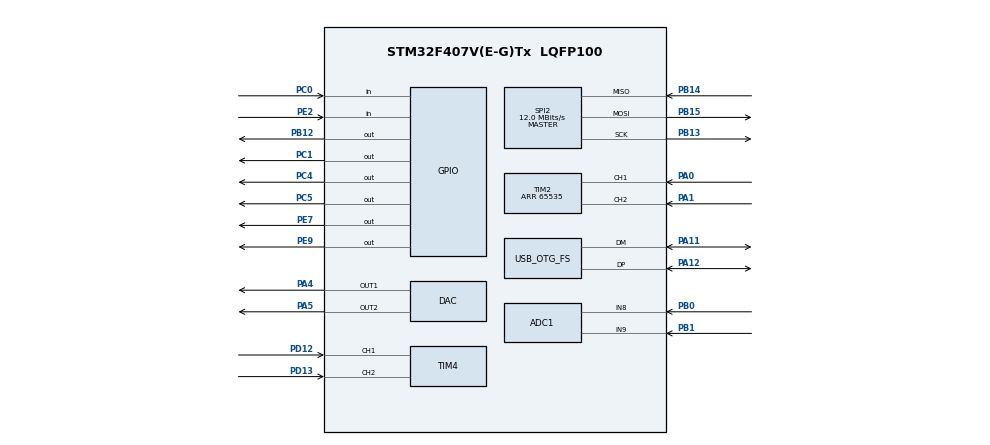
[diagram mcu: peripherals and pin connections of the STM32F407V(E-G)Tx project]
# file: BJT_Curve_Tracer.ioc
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ADC1.Channel-7\#ChannelRegularConversion=ADC_CHANNEL_8
ADC1.NbrOfConversionFlag=1
ADC1.Rank-7\#ChannelRegularConversion=1
ADC1.SamplingTime-7\#ChannelRegularConversion=ADC_SAMPLETIME_3CYCLES
ADC1.master=1
DAC.DAC_OutputBuffer=DAC_OUTPUTBUFFER_ENABLE
DAC.DAC_OutputBuffer2=DAC_OUTPUTBUFFER_ENABLE
Mcu.Family=STM32F4
Mcu.Name=STM32F407V(E-G)Tx
Mcu.Package=LQFP100
NVIC.OTG_FS_IRQn=true\:0\:0\:false\:false\:true\:false\:true\:true
NVIC.PriorityGroup=NVIC_PRIORITYGROUP_4
PA0-WKUP.GPIO_PuPd=GPIO_PULLUP
PA0-WKUP.Signal=S_TIM2_CH1_ETR
PA1.GPIO_PuPd=GPIO_PULLUP
PA1.Signal=S_TIM2_CH2
PA11.Mode=Device_Only
PA11.Signal=USB_OTG_FS_DM
PA12.Mode=Device_Only
PA12.Signal=USB_OTG_FS_DP
PA13.Mode=Serial_Wire
PA13.Signal=SYS_JTMS-SWDIO
PA14.Mode=Serial_Wire
PA14.Signal=SYS_JTCK-SWCLK
PA4.Signal=COMP_DAC1_group
PA5.Signal=COMP_DAC2_group
PB0.Signal=ADCx_IN8
PB1.Signal=ADCx_IN9
PB12.GPIO_PuPd=GPIO_NOPULL
PB12.GPIO_Speed=GPIO_SPEED_FREQ_VERY_HIGH
PB12.Signal=GPIO_Output
PB13.Mode=Full_Duplex_Master
PB13.Signal=SPI2_SCK
PB14.Mode=Full_Duplex_Master
PB14.Signal=SPI2_MISO
PB15.Mode=Full_Duplex_Master
PB15.Signal=SPI2_MOSI
PC0.GPIO_PuPd=GPIO_PULLUP
PC0.Signal=GPIO_Input
PC1.GPIO_Speed=GPIO_SPEED_FREQ_VERY_HIGH
PC1.Signal=GPIO_Output
PC4.GPIO_Speed=GPIO_SPEED_FREQ_VERY_HIGH
PC4.Signal=GPIO_Output
PC5.GPIO_Speed=GPIO_SPEED_FREQ_VERY_HIGH
PC5.Signal=GPIO_Output
PD12.GPIO_PuPd=GPIO_PULLUP
PD12.Signal=S_TIM4_CH1
PD13.GPIO_PuPd=GPIO_PULLUP
PD13.Signal=S_TIM4_CH2
PE2.GPIO_Mode=GPIO_MODE_INPUT
PE2.GPIO_PuPd=GPIO_PULLUP
PE2.Signal=GPIO_Input
PE7.GPIO_PuPd=GPIO_PULLDOWN
PE7.GPIO_Speed=GPIO_SPEED_FREQ_VERY_HIGH
PE7.Signal=GPIO_Output
PE9.GPIO_PuPd=GPIO_PULLDOWN
PE9.GPIO_Speed=GPIO_SPEED_FREQ_VERY_HIGH
PE9.PinState=GPIO_PIN_RESET
PE9.Signal=GPIO_Output
PH0-OSC_IN.Mode=HSE-External-Oscillator
PH0-OSC_IN.Signal=RCC_OSC_IN
PH1-OSC_OUT.Mode=HSE-External-Oscillator
PH1-OSC_OUT.Signal=RCC_OSC_OUT
ProjectManager.HeapSize=0x1000
ProjectManager.StackSize=0x1000
ProjectManager.TargetToolchain=STM32CubeIDE
RCC.48MHZClocksFreq_Value=48000000
RCC.AHBFreq_Value=96000000
RCC.APB1CLKDivider=RCC_HCLK_DIV4
RCC.APB1Freq_Value=24000000
RCC.APB1TimFreq_Value=48000000
RCC.APB2CLKDivider=RCC_HCLK_DIV2
RCC.APB2Freq_Value=48000000
RCC.APB2TimFreq_Value=96000000
RCC.CortexFreq_Value=96000000
RCC.HCLKFreq_Value=96000000
RCC.HSE_VALUE=8000000
RCC.HSI_VALUE=16000000
RCC.LSE_VALUE=32768
RCC.PLLM=8
RCC.SYSCLKFreq_VALUE=96000000
RCC.SYSCLKSource=RCC_SYSCLKSOURCE_PLLCLK
RCC.VCOOutputFreq_Value=192000000
SH.ADCx_IN8.0=ADC1_IN8,IN8
SH.ADCx_IN9.0=ADC1_IN9,IN9
SH.COMP_DAC1_group.0=DAC_OUT1,DAC_OUT1
SH.COMP_DAC2_group.0=DAC_OUT2,DAC_OUT2
SH.S_TIM2_CH1_ETR.0=TIM2_CH1,Encoder_Interface
SH.S_TIM2_CH2.0=TIM2_CH2,Encoder_Interface
SH.S_TIM4_CH1.0=TIM4_CH1,Encoder_Interface
SH.S_TIM4_CH2.0=TIM4_CH2,Encoder_Interface
SPI2.BaudRatePrescaler=SPI_BAUDRATEPRESCALER_2
SPI2.CalculateBaudRate=12.0 MBits/s
SPI2.Direction=SPI_DIRECTION_2LINES
SPI2.Mode=SPI_MODE_MASTER
SPI2.VirtualType=VM_MASTER
TIM2.EncoderMode=TIM_ENCODERMODE_TI12
TIM2.IC1Filter=10
TIM2.IC2Filter=10
TIM2.Period=65535
TIM4.EncoderMode=TIM_ENCODERMODE_TI12
TIM4.IC1Filter=10
TIM4.IC2Filter=10
TIM6.AutoReloadPreload=TIM_AUTORELOAD_PRELOAD_ENABLE
TIM6.Prescaler=47
USB_DEVICE.CLASS_NAME_FS=CDC
USB_DEVICE.VirtualMode-CDC_FS=Cdc
USB_DEVICE.VirtualModeFS=Cdc_FS
USB_OTG_FS.VirtualMode=Device_Only
VP_TIM6_VS_ClockSourceINT.Mode=Enable_Timer
VP_USB_DEVICE_VS_USB_DEVICE_CDC_FS.Mode=CDC_FS
board=custom

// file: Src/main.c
/* USER CODE BEGIN Header */
/**
 ******************************************************************************
 * @file : main.c
 * @brief : Main program body
 ******************************************************************************
 */
/* USER CODE END Header */

#include <math.h>
#include <stdio.h>
#include <stdlib.h>

#include "adc.h"
#include "dac.h"
#include "gpio.h"
#include "ili9341.h"
#include "main.h"
#include "spi.h"
#include "tim.h"

#include "usb_device.h"
#include "usbd_cdc_if.h"
#include <string.h>

/* USER CODE BEGIN PV */
#define DAC_OFFSET 2048
#define SHUNT_RESISTOR 10.0f
#define PUMP_RESISTOR 3300.0f
#define ORIGIN_X 0
#define ORIGIN_Y 239
#define GRAPH_W 320
#define GRAPH_H 240

#define MAX_BATCH_SIZE 50
#define BATCH_DEFAULT_SIZE 30

typedef enum
{
  STATE_MENU,
  STATE_SCANNING,
  STATE_SHOW_GRAPH,
  STATE_PROMPT_SAVE,
  STATE_WAIT_BJT2,
  STATE_SHOW_COMPARE,
  STATE_BATCH_CONFIG,
  STATE_BATCH_RUNNING,
  STATE_BATCH_PROMPT_EXIT,
  STATE_BATCH_SUMMARY
} SystemState;

SystemState current_state = STATE_MENU;

// Biến Menu
uint8_t cfg_is_power = 0;
uint8_t cfg_is_pnp = 0;
float cfg_max_ib_uA = 100.0f;
uint8_t cfg_num_steps = 5;
float cfg_max_power = 0.1f;
int menu_index = 0;

uint16_t last_encoder_val = 0;
uint16_t last_encoder2_val = 0;

// Biến Test Lô (Batch)
float batch_hfe[MAX_BATCH_SIZE];
uint8_t cfg_batch_size = BATCH_DEFAULT_SIZE;
uint8_t current_batch_index = 0;
uint8_t exit_prompt_sel = 0;

// Biến Thống kê toàn cục để dùng cho các Tab
float batch_mean = 0, batch_std_dev = 0, batch_cv = 0;
uint8_t batch_outliers = 0;
uint8_t summary_page = 0;
int table_scroll = 0;

// Biến so sánh 2 BJT
float vce_data_1[10][100], ic_data_1[10][100];
float vce_data_2[10][100], ic_data_2[10][100];
float hfe_1 = 0, hfe_2 = 0;
float max_ic_1 = 0, max_ic_2 = 0;
uint8_t prompt_selection = 0;

/* USER CODE END PV */

void
SystemClock_Config(void);

/* USER CODE BEGIN 0 */

// ==========================================================
// 1. CÁC HÀM TIỆN ÍCH CƠ BẢN
// ==========================================================
void
Delay_us(uint16_t us)
{
  __HAL_TIM_SET_COUNTER(&htim6, 0);
  while ((__HAL_TIM_GET_COUNTER(&htim6)) < us)
    ;
}

uint16_t
Read_ADC_Channel_Averaged(uint32_t Channel, uint16_t num_samples)
{
  ADC_ChannelConfTypeDef sConfig = { 0 };
  sConfig.Channel = Channel;
  sConfig.Rank = 1;
  sConfig.SamplingTime = ADC_SAMPLETIME_84CYCLES;
  HAL_ADC_ConfigChannel(&hadc1, &sConfig);

  uint32_t sum = 0;
  for (uint16_t i = 0; i < num_samples; i++) {
    HAL_ADC_Start(&hadc1);
    HAL_ADC_PollForConversion(&hadc1, 10);
    sum += HAL_ADC_GetValue(&hadc1);
  }
  HAL_ADC_Stop(&hadc1);
  return (uint16_t)(sum / num_samples);
}

void
DrawLine(uint16_t x0, uint16_t y0, uint16_t x1, uint16_t y1, uint16_t color)
{
  int dx = abs(x1 - x0), dy = abs(y1 - y0);
  int sx = (x0 < x1) ? 1 : -1, sy = (y0 < y1) ? 1 : -1;
  int err = dx - dy;
  while (1) {
    ILI9341_DrawPixel(x0, y0, color);
    if (x0 == x1 && y0 == y1)
      break;
    int e2 = 2 * err;
    if (e2 > -dy) {
      err -= dy;
      x0 += sx;
    }
    if (e2 < dx) {
      err += dx;
      y0 += sy;
    }
  }
}

void
DrawRectFrame(uint16_t x, uint16_t y, uint16_t w, uint16_t h, uint16_t color)
{
  DrawLine(x, y, x + w, y, color);
  DrawLine(x, y + h, x + w, y + h, color);
  DrawLine(x, y, x, y + h, color);
  DrawLine(x + w, y, x + w, y + h, color);
}

void
USB_Send_String(char* str)
{
  uint32_t start_time = HAL_GetTick();
  while (CDC_Transmit_FS((uint8_t*)str, strlen(str)) == USBD_BUSY) {
    if (HAL_GetTick() - start_time > 5)
      break;
  }
}

// ==========================================================
// 2. GIAO DIỆN MENU VÀ ĐIỀU HƯỚNG
// ==========================================================
void
Draw_Menu_Line(int index, uint8_t is_selected)
{
  char text[32];
  if (index == 0)
    sprintf(text, "1. Size : %s", cfg_is_power ? "POWER BJT" : "SMALL SIGNAL");
  else if (index == 1)
    sprintf(text, "2. Type : %s", cfg_is_pnp ? "PNP" : "NPN");
  else if (index == 2) {
    if (cfg_is_power)
      sprintf(text, "3. Max Ib : %.0f mA", cfg_max_ib_uA / 1000.0f);
    else
      sprintf(text, "3. Max Ib : %.0f uA", cfg_max_ib_uA);
  } else if (index == 3)
    sprintf(text, "4. Steps : %d curves", cfg_num_steps);
  else if (index == 4)
    sprintf(text, "5. P-Limit: %.2f W", cfg_max_power);
  else if (index == 5)
    sprintf(text, "  -> SINGLE SCAN <-");
  else if (index == 6)
    sprintf(text, "  -> BATCH TEST 3-SIGMA <-");

  uint16_t txt_color = ILI9341_WHITE;
  uint16_t bg_color = is_selected ? ILI9341_RED : ILI9341_BLACK;

  ILI9341_FillRectangle(5, 50 + (index * 24), 305, 22, bg_color);
  ILI9341_WriteString(10, 52 + (index * 24), text, Font_11x18, txt_color, bg_color);
}

void
Draw_Menu_UI(void)
{
  ILI9341_FillScreen(ILI9341_BLACK);
  ILI9341_WriteString(50, 10, "--- CURVE TRACER ---", Font_11x18, ILI9341_CYAN, ILI9341_BLACK);
  for (int i = 0; i < 7; i++)
    Draw_Menu_Line(i, (i == menu_index));
}

void
Draw_Prompt_Save_BG(void)
{
  // Đổi nền hộp thoại sang màu xám (45, 45, 45)
  ILI9341_FillRectangle(40, 80, 240, 100, ILI9341_COLOR565(45, 45, 45));
  // Đổi màu nền của text trùng khớp với màu nền xám để chống nhòe chữ
  ILI9341_WriteString(70, 95, "Save for compare?", Font_11x18, ILI9341_WHITE, ILI9341_COLOR565(45, 45, 45));
}

void
Draw_Prompt_Save_Buttons(uint8_t is_yes)
{
  uint16_t no_bg = (is_yes == 0) ? ILI9341_RED : ILI9341_BLACK;
  ILI9341_FillRectangle(60, 135, 80, 25, no_bg);
  ILI9341_WriteString(90, 140, "NO", Font_11x18, ILI9341_WHITE, no_bg);

  uint16_t yes_bg = (is_yes == 1) ? ILI9341_GREEN : ILI9341_BLACK;
  ILI9341_FillRectangle(180, 135, 80, 25, yes_bg);
  ILI9341_WriteString(205, 140, "YES", Font_11x18, ILI9341_WHITE, yes_bg);
}

void
Draw_Prompt_InsertBJT2(void)
{
  ILI9341_FillScreen(ILI9341_BLACK);
  ILI9341_WriteString(25, 100, "Insert New BJT", Font_11x18, ILI9341_CYAN, ILI9341_BLACK);
  ILI9341_WriteString(25, 130, "Then Press Enc 1's button", Font_11x18, ILI9341_YELLOW, ILI9341_BLACK);
}

// ==========================================================
// 3. GIAO DIỆN BATCH TEST
// ==========================================================
void
Update_Batch_Config_Value(void)
{
  char buf[32];
  sprintf(buf, "Batch Size: %-2d pcs", cfg_batch_size);
  ILI9341_WriteString(45, 90, buf, Font_11x18, ILI9341_YELLOW, ILI9341_BLACK);
}

void
Draw_Batch_Config_BG(void)
{
  ILI9341_FillScreen(ILI9341_BLACK);
  ILI9341_WriteString(40, 25, "--- BATCH CONFIG ---", Font_11x18, ILI9341_CYAN, ILI9341_BLACK);
  ILI9341_WriteString(20, 150, "Turn Enc 2 to adjust size", Font_7x10, ILI9341_WHITE, ILI9341_BLACK);
  ILI9341_WriteString(20, 175, "Press Enc 2's button to START TESTING", Font_7x10, ILI9341_GREEN, ILI9341_BLACK);
  Update_Batch_Config_Value();
}

void
Update_Batch_Running_Data(void)
{
  char buf[32];
  sprintf(buf, "BJT No: %-2d / %-2d", current_batch_index + 1, cfg_batch_size);
  ILI9341_WriteString(45, 75, buf, Font_16x26, ILI9341_YELLOW, ILI9341_BLACK);

  if (current_batch_index > 0) {
    sprintf(buf, "Last hFE: %-6.1f", batch_hfe[current_batch_index - 1]);
    ILI9341_WriteString(50, 120, buf, Font_11x18, ILI9341_WHITE, ILI9341_BLACK);
  }

  uint16_t bar_width = (uint16_t)(((float)current_batch_index / (float)cfg_batch_size) * 260.0f);
  if (bar_width > 0)
    ILI9341_FillRectangle(30, 160, bar_width, 12, ILI9341_GREEN);
}

void
Draw_Batch_Running_BG(void)
{
  ILI9341_FillScreen(ILI9341_BLACK);
  ILI9341_WriteString(40, 20, "--- BATCH TESTING ---", Font_11x18, ILI9341_CYAN, ILI9341_BLACK);
  ILI9341_WriteString(10, 195, "Ins BJT -> Press Enc 1's button", Font_7x10, ILI9341_GREEN, ILI9341_BLACK);
  ILI9341_WriteString(10, 205, "Press Enc 2's button to abort", Font_7x10, ILI9341_GREEN, ILI9341_BLACK);

  DrawRectFrame(29, 159, 262, 14, ILI9341_WHITE);
  ILI9341_FillRectangle(30, 160, 260, 12, ILI9341_COLOR565(40, 40, 40));
  Update_Batch_Running_Data();
}

void
Draw_Prompt_Exit_BG(void)
{
  // Đổi nền hộp thoại hủy sang màu xám chung
  ILI9341_FillRectangle(40, 80, 240, 100, ILI9341_COLOR565(45, 45, 45));
  DrawRectFrame(40, 80, 240, 100, ILI9341_WHITE);
  ILI9341_WriteString(80, 95, "Abort Batch?", Font_11x18, ILI9341_WHITE, ILI9341_COLOR565(45, 45, 45));
}

void
Draw_Prompt_Exit_Buttons(uint8_t is_yes)
{
  uint16_t no_bg = (is_yes == 0) ? ILI9341_RED : ILI9341_BLACK;
  ILI9341_FillRectangle(60, 135, 80, 25, no_bg);
  ILI9341_WriteString(90, 140, "NO", Font_11x18, ILI9341_WHITE, no_bg);

  uint16_t yes_bg = (is_yes == 1) ? ILI9341_GREEN : ILI9341_BLACK;
  ILI9341_FillRectangle(180, 135, 80, 25, yes_bg);
  ILI9341_WriteString(205, 140, "YES", Font_11x18, ILI9341_WHITE, yes_bg);
}

// ==========================================================
// 4. CÁC HÀM VẼ TABS CHO STATE_BATCH_SUMMARY
// ==========================================================
void
Draw_Batch_Table_Rows(void)
{
  ILI9341_FillRectangle(0, 20, 320, 220, ILI9341_BLACK);
  ILI9341_WriteString(10, 25, "ID", Font_7x10, ILI9341_WHITE, ILI9341_BLACK);
  ILI9341_WriteString(60, 25, "hFE", Font_7x10, ILI9341_WHITE, ILI9341_BLACK);
  ILI9341_WriteString(160, 25, "Status (3-Sigma)", Font_7x10, ILI9341_WHITE, ILI9341_BLACK);
  DrawLine(5, 38, 315, 38, ILI9341_WHITE);

  float upper = batch_mean + 3.0f * batch_std_dev;
  float lower = batch_mean - 3.0f * batch_std_dev;

  for (int i = 0; i < 8; i++) {
    int idx = table_scroll + i;
    if (idx >= cfg_batch_size)
      break;

    int y_pos = 45 + (i * 20);
    char buf[32];
    sprintf(buf, "#%02d", idx + 1);
    ILI9341_WriteString(10, y_pos, buf, Font_7x10, ILI9341_CYAN, ILI9341_BLACK);

    sprintf(buf, "%.1f", batch_hfe[idx]);
    ILI9341_WriteString(60, y_pos, buf, Font_7x10, ILI9341_YELLOW, ILI9341_BLACK);

    if (batch_hfe[idx] > upper || batch_hfe[idx] < lower) {
      ILI9341_WriteString(160, y_pos, "FAILED (OUTLIER)", Font_7x10, ILI9341_RED, ILI9341_BLACK);
    } else {
      ILI9341_WriteString(160, y_pos, "PASS", Font_7x10, ILI9341_GREEN, ILI9341_BLACK);
    }
  }
  ILI9341_WriteString(10, 225, "Turn Enc2 to scroll down", Font_7x10, ILI9341_WHITE, ILI9341_BLACK);
}

void
Draw_Batch_3Sigma_Graph(void)
{
  ILI9341_FillRectangle(0, 20, 320, 220, ILI9341_BLACK);

  float y_max = batch_mean + 4.0f * batch_std_dev;
  float y_min = batch_mean - 4.0f * batch_std_dev;
  if (y_min < 0)
    y_min = 0;
  float y_range = y_max - y_min;
  if (y_range == 0)
    y_range = 1;

  int origin_y = 210, graph_h = 160, origin_x = 30, graph_w = 280;

  DrawLine(origin_x, origin_y, origin_x + graph_w, origin_y, ILI9341_WHITE);
  DrawLine(origin_x, origin_y, origin_x, origin_y - graph_h, ILI9341_WHITE);

  int y_mean = origin_y - (int)(((batch_mean - y_min) / y_range) * graph_h);
  DrawLine(origin_x, y_mean, origin_x + graph_w, y_mean, ILI9341_GREEN);

  char val_buf[20];
  sprintf(val_buf, "u=%.1f", batch_mean);
  ILI9341_WriteString(origin_x + 5, y_mean - 12, val_buf, Font_7x10, ILI9341_GREEN, ILI9341_BLACK);

  float upper = batch_mean + 3.0f * batch_std_dev;
  float lower = batch_mean - 3.0f * batch_std_dev;
  int y_upper = origin_y - (int)(((upper - y_min) / y_range) * graph_h);
  int y_lower = origin_y - (int)(((lower - y_min) / y_range) * graph_h);

  if (y_upper >= origin_y - graph_h) {
    DrawLine(origin_x, y_upper, origin_x + graph_w, y_upper, ILI9341_RED);
    sprintf(val_buf, "+3o=%.1f", upper);
    ILI9341_WriteString(origin_x + 5, y_upper + 2, val_buf, Font_7x10, ILI9341_RED, ILI9341_BLACK);
  }
  if (y_lower <= origin_y) {
    DrawLine(origin_x, y_lower, origin_x + graph_w, y_lower, ILI9341_RED);
    sprintf(val_buf, "-3o=%.1f", lower);
    ILI9341_WriteString(origin_x + 5, y_lower - 12, val_buf, Font_7x10, ILI9341_RED, ILI9341_BLACK);
  }

  float x_step = (float)graph_w / (cfg_batch_size + 1);
  for (int i = 0; i < cfg_batch_size; i++) {
    int px = origin_x + (int)((i + 1) * x_step);
    int py = origin_y - (int)(((batch_hfe[i] - y_min) / y_range) * graph_h);
    if (py < origin_y - graph_h)
      py = origin_y - graph_h;

    uint16_t dot_color = (batch_hfe[i] > upper || batch_hfe[i] < lower) ? ILI9341_RED : ILI9341_YELLOW;
    ILI9341_FillRectangle(px - 2, py - 2, 5, 5, dot_color);
  }
  ILI9341_WriteString(50, 220, "Green: Mean | Red: +/- 3Sigma limits", Font_7x10, ILI9341_WHITE, ILI9341_BLACK);
}

void
Draw_Batch_Summary_Page(void)
{
  ILI9341_FillScreen(ILI9341_BLACK);

  ILI9341_WriteString(10, 5, summary_page == 0 ? "[STATS]" : " STATS ", Font_7x10, summary_page == 0 ? ILI9341_CYAN : ILI9341_WHITE, ILI9341_BLACK);
  ILI9341_WriteString(80, 5, summary_page == 1 ? "[GRAPH]" : " GRAPH ", Font_7x10, summary_page == 1 ? ILI9341_CYAN : ILI9341_WHITE, ILI9341_BLACK);
  ILI9341_WriteString(150, 5, summary_page == 2 ? "[TABLE]" : " TABLE ", Font_7x10, summary_page == 2 ? ILI9341_CYAN : ILI9341_WHITE, ILI9341_BLACK);
  DrawLine(0, 18, 320, 18, ILI9341_WHITE);

  if (summary_page == 0) {
    char buf[40];
    sprintf(buf, "Total Samples : %d pcs", cfg_batch_size);
    ILI9341_WriteString(20, 50, buf, Font_11x18, ILI9341_WHITE, ILI9341_BLACK);

    sprintf(buf, "Mean hFE (u)  : %.1f", batch_mean);
    ILI9341_WriteString(20, 80, buf, Font_11x18, ILI9341_YELLOW, ILI9341_BLACK);

    sprintf(buf, "Std Dev (o)   : %.2f", batch_std_dev);
    ILI9341_WriteString(20, 110, buf, Font_11x18, ILI9341_YELLOW, ILI9341_BLACK);

    sprintf(buf, "Variation(CV) : %.1f %%", batch_cv);
    uint16_t cv_color = (batch_cv <= 5.0f) ? ILI9341_GREEN : ((batch_cv <= 10.0f) ? ILI9341_WHITE : ILI9341_RED);
    ILI9341_WriteString(20, 140, buf, Font_11x18, cv_color, ILI9341_BLACK);

    sprintf(buf, "Outliers(Bad) : %d pcs", batch_outliers);
    uint16_t out_color = (batch_outliers == 0) ? ILI9341_GREEN : ILI9341_RED;
    ILI9341_WriteString(20, 170, buf, Font_11x18, out_color, ILI9341_BLACK);

    ILI9341_WriteString(35, 215, "Turn Enc 1 to change Tabs", Font_7x10, ILI9341_WHITE, ILI9341_BLACK);
    ILI9341_WriteString(35, 225, "Enc 1's button: Exit", Font_7x10, ILI9341_WHITE, ILI9341_BLACK);
  } else if (summary_page == 1)
    Draw_Batch_3Sigma_Graph();
  else if (summary_page == 2)
    Draw_Batch_Table_Rows();
}

uint8_t
Check_BJT_Short(uint8_t is_PNP, float R_pump, float R_shunt)
{
  int dac_dir = is_PNP ? -1 : 1;

  // Sử dụng một dòng kích nhỏ thích hợp để kiểm tra an toàn
  float ib_test_A = (R_shunt < 1.0f) ? 0.001f : 0.00001f;
  float v_dac_i = 1.65f + (dac_dir * ib_test_A * R_pump);

  // Áp dụng áp Vce thử nghiệm thấp: ~1V để dò dòng ngắn mạch
  int32_t dac1_val = DAC_OFFSET + (dac_dir * 1200);
  uint32_t dac2_val = (uint32_t)((v_dac_i / 3.3f) * 4095.0f);

  HAL_DAC_SetValue(&hdac, DAC_CHANNEL_2, DAC_ALIGN_12B_R, dac2_val);
  HAL_DAC_SetValue(&hdac, DAC_CHANNEL_1, DAC_ALIGN_12B_R, dac1_val);
  Delay_us(500);

  uint32_t adc_ve = Read_ADC_Channel_Averaged(ADC_CHANNEL_9, 32);

  // Lập tức ngắt xung đưa về Mass ảo để bảo vệ linh kiện
  HAL_DAC_SetValue(&hdac, DAC_CHANNEL_1, DAC_ALIGN_12B_R, DAC_OFFSET);
  HAL_DAC_SetValue(&hdac, DAC_CHANNEL_2, DAC_ALIGN_12B_R, DAC_OFFSET);

  float v_e_phys = 1.65f - (((float)adc_ve / 4095.0f) * 3.3f);
  float ic_test_mA = fabs(v_e_phys) / R_shunt * 1000.0f;

  float short_limit_mA = (R_shunt < 1.0f) ? 1000.0f : 50.0f;

  if (ic_test_mA > short_limit_mA)
	  return 1; // Chập mạch

  return 0; // An toàn
}

// ==============================================================================
// 5. THUẬT TOÁN ĐO VÀ ĐÁNH GIÁ THỐNG KÊ LÔ
// ==============================================================================
float
Measure_BJT_Single_Point(uint8_t is_PNP, float target_ib_uA)
{
  // ====================================================================
  // BƯỚC 1: CHUYỂN MẠCH RELAY PHẦN CỨNG THEO ĐÚNG CHẾ ĐỘ CHỌN TỪ MENU
  // ====================================================================
  if (cfg_is_power) {
    HAL_GPIO_WritePin(GPIOE, GPIO_PIN_7 | GPIO_PIN_9, GPIO_PIN_SET); // Đóng Relay chuyển sang dải dòng lớn
  } else {
    HAL_GPIO_WritePin(GPIOE, GPIO_PIN_7 | GPIO_PIN_9, GPIO_PIN_RESET); // Nhả Relay giữ dải tín hiệu nhỏ
  }
  HAL_Delay(30); // Chờ 30ms cho tiếp điểm cơ khí ổn định hoàn toàn

  // Thiết lập giá trị điện trở động theo chế độ
  float current_pump_res = cfg_is_power ? 33.0f : 3300.0f;
  float current_shunt_res = cfg_is_power ? 0.1f : 10.0f;

  if (Check_BJT_Short(is_PNP, current_pump_res, current_shunt_res)) {
      HAL_GPIO_WritePin(GPIOE, GPIO_PIN_7 | GPIO_PIN_9, GPIO_PIN_RESET); // Nhả Relay khẩn cấp
      return 0.0f; // Trả về hFE = 0 để hệ thống tự lọc nó vào danh sách "FAILED"
  }

  // ====================================================================
  // BƯỚC 2: TÍNH TOÁN VÀ PHÁT XUNG ĐO ĐIỂM ĐƠN (Vce chốt tại nấc số 50 ~ 4V)
  // ====================================================================
  int dac_direction = is_PNP ? -1 : 1;
  float ib_target_A = target_ib_uA / 1000000.0f;
  float v_dac_i_volts = 1.65f + (dac_direction * ib_target_A * current_pump_res); // Sử dụng trở Pump động

  if (v_dac_i_volts < 0.0f) v_dac_i_volts = 0.0f;   // Khóa chống Underflow (Mức 0V)
  if (v_dac_i_volts > 3.3f) v_dac_i_volts = 3.3f;   // Khóa chống Overflow (Mức 3.3V)

  uint32_t dac2_val = (uint32_t)((v_dac_i_volts / 3.3f) * 4095.0f);
  if (dac2_val > 4095) dac2_val = 4095;

  // Ép áp Vce bão hòa dải tuyến tính (Vce ~ 4V tương ứng bước quét trung tâm số 50)
  int32_t dac1_val = DAC_OFFSET + (dac_direction * (50 * 25));
  if (dac1_val > 4095) dac1_val = 4095;
  if (dac1_val < 0)    dac1_val = 0;

  // Bật xung đo kích thích chân BJT
  HAL_DAC_SetValue(&hdac, DAC_CHANNEL_2, DAC_ALIGN_12B_R, dac2_val);
  HAL_DAC_SetValue(&hdac, DAC_CHANNEL_1, DAC_ALIGN_12B_R, dac1_val);

  Delay_us(200); // Giữ xung kích 200us cho BJT
  uint32_t adc_ve = Read_ADC_Channel_Averaged(ADC_CHANNEL_9, 64);

  // ====================================================================
  // BƯỚC 3: NGẮT XUNG VỀ MASS ẢO VÀ TRẢ RELAY VỀ TRẠNG THÁI AN TOÀN
  // ====================================================================
  HAL_DAC_SetValue(&hdac, DAC_CHANNEL_1, DAC_ALIGN_12B_R, DAC_OFFSET);
  HAL_DAC_SetValue(&hdac, DAC_CHANNEL_2, DAC_ALIGN_12B_R, DAC_OFFSET);

  HAL_GPIO_WritePin(GPIOE, GPIO_PIN_7 | GPIO_PIN_9, GPIO_PIN_RESET); // Nhả Relay đưa mạch về trạng thái nghỉ an toàn
  HAL_Delay(10); // Chờ Relay nhả ra ổn định trước khi xử lý toán học

  // ====================================================================
  // BƯỚC 4: QUY ĐỔI GIÁ TRỊ VẬT LÝ VÀ TRẢ VỀ KẾT QUẢ HFE CHÍNH XÁC
  // ====================================================================
  float v_adc_e = ((float)adc_ve / 4095.0f) * 3.3f;
  float v_e_phys = 1.65f - v_adc_e;
  float ic_meas = fabs(v_e_phys) / current_shunt_res * 1000.0f; // Sử dụng trở Shunt động ứng biến theo mode

  return (ic_meas * 1000.0f) / target_ib_uA; // Trả về giá trị hFE thực tế của linh kiện
}

void
Run_Batch_Statistical_Analysis(void)
{
  float sum = 0, variance_sum = 0;
  batch_outliers = 0;

  for (int i = 0; i < cfg_batch_size; i++)
    sum += batch_hfe[i];
  batch_mean = sum / (float)cfg_batch_size;

  for (int i = 0; i < cfg_batch_size; i++)
    variance_sum += powf(batch_hfe[i] - batch_mean, 2);
  batch_std_dev = sqrtf(variance_sum / (float)cfg_batch_size);

  float lower_bound = batch_mean - (3.0f * batch_std_dev);
  float upper_bound = batch_mean + (3.0f * batch_std_dev);

  for (int i = 0; i < cfg_batch_size; i++) {
    if (batch_hfe[i] < lower_bound || batch_hfe[i] > upper_bound)
      batch_outliers++;
  }

  batch_cv = (batch_mean > 0) ? ((batch_std_dev / batch_mean) * 100.0f) : 0;

  char batch_tx[64];
  sprintf(batch_tx, "BATCH_DONE:%.1f,%.2f,%.1f,%d\n", batch_mean, batch_std_dev, batch_cv, batch_outliers);
  USB_Send_String(batch_tx);

  summary_page = 0;
  table_scroll = 0;
  Draw_Batch_Summary_Page();
}

// ==============================================================================
// 6. HÀM ĐO QUÉT ĐẶC TUYẾN (SINGLE SCAN MODE)
// ==============================================================================
void
Measure_BJT(uint8_t is_PNP, float max_ib_uA, uint8_t num_steps, uint8_t bjt_index)
{
  // 1. CHUYỂN MẠCH RELAY PHẦN CỨNG
  if (cfg_is_power) {
    HAL_GPIO_WritePin(GPIOE, GPIO_PIN_7 | GPIO_PIN_9, GPIO_PIN_SET); // Kích Relay
  } else {
    HAL_GPIO_WritePin(GPIOE, GPIO_PIN_7 | GPIO_PIN_9, GPIO_PIN_RESET); // Nhả Relay
  }
  HAL_Delay(30); // Chờ 30ms cho tiếp điểm cơ khí Relay ổn định (Debounce)

  float current_pump_res = cfg_is_power ? 33.0f : 3300.0f;
  float current_shunt_res = cfg_is_power ? 0.1f : 10.0f;
  float max_ic_limit = cfg_is_power ? 4800.0f : 500.0f; // OCP 4.8A hoặc 500mA

  // 2. BẢO VỆ PHẦN CỨNG: KIỂM TRA SỰ CỐ CHẬP CHÂN E-C TRƯỚC KHI QUÉT ĐỒ THỊ
  if (Check_BJT_Short(is_PNP, current_pump_res, current_shunt_res)) {
    ILI9341_FillScreen(ILI9341_RED);
    ILI9341_WriteString(40, 110, "FAULT: SHORT CIRCUIT!", Font_11x18, ILI9341_WHITE, ILI9341_RED);

    HAL_GPIO_WritePin(GPIOE, GPIO_PIN_7 | GPIO_PIN_9, GPIO_PIN_RESET); // Tắt khẩn cấp Relay kích dòng lớn
    HAL_Delay(2000); // Treo màn hình cảnh báo lỗi trong 2 giây

    current_state = STATE_MENU;

    return; // Thoát cưỡng bức, hủy bỏ toàn bộ lượt quét đồ thị hiện tại
  }

  // 3. TIẾN HÀNH QUÉT (Có Overcurrent Protection)
  int dac_dir = is_PNP ? -1 : 1;
  float ib_step_uA = max_ib_uA / (float)num_steps;
  float current_max_ic = 0, current_hfe = 0;
  uint8_t ocp_triggered = 0; // Cờ báo quá dòng
  char tx_buf[64];

  if (bjt_index == 1) {
    sprintf(tx_buf, "START:%.1f,%d\n", max_ib_uA, num_steps);
    USB_Send_String(tx_buf);
  }

  for (int step = 0; step < num_steps; step++) {
    if (ocp_triggered)
      break; // Thoát hẳn vòng lặp lớn nếu đã quá dòng

    float ib_target_uA = (step + 1) * ib_step_uA;
    float ib_target_A = ib_target_uA / 1000000.0f;

    // TÍNH TOÁN ÁP CHO DAC2 VÀ CHẶN BIÊN
    float v_dac_i_volts = 1.65f + (dac_dir * ib_target_A * current_pump_res);

    if (v_dac_i_volts < 0.0f) v_dac_i_volts = 0.0f;   // Khóa chống Underflow (Mức 0V)
    if (v_dac_i_volts > 3.3f) v_dac_i_volts = 3.3f;   // Khóa chống Overflow (Mức 3.3V)

    uint32_t dac2_val = (uint32_t)((v_dac_i_volts / 3.3f) * 4095.0f);
    if (dac2_val > 4095)
      dac2_val = 4095;

    for (int v_step = 0; v_step < 100; v_step++) {
      uint32_t delta_dac_v = v_step * 25;
      int32_t dac1_val = DAC_OFFSET + (dac_dir * delta_dac_v);
      if (dac1_val > 4095)
        dac1_val = 4095;
      if (dac1_val < 0)
        dac1_val = 0;

      HAL_DAC_SetValue(&hdac, DAC_CHANNEL_2, DAC_ALIGN_12B_R, dac2_val);
      HAL_DAC_SetValue(&hdac, DAC_CHANNEL_1, DAC_ALIGN_12B_R, dac1_val);

      Delay_us(200);

      uint32_t adc_vc = Read_ADC_Channel_Averaged(ADC_CHANNEL_8, 64);
      uint32_t adc_ve = Read_ADC_Channel_Averaged(ADC_CHANNEL_9, 64);

      HAL_DAC_SetValue(&hdac, DAC_CHANNEL_1, DAC_ALIGN_12B_R, DAC_OFFSET);
      HAL_DAC_SetValue(&hdac, DAC_CHANNEL_2, DAC_ALIGN_12B_R, DAC_OFFSET);

      float v_adc_c = ((float)adc_vc / 4095.0f) * 3.3f;
      float v_adc_e = ((float)adc_ve / 4095.0f) * 3.3f;

      float v_e_phys = 1.65f - v_adc_e;
      float v_c_phys = 1.65f + (v_adc_c - 1.65f) * 7.8f;

      float vce_meas = fabs(v_c_phys - v_e_phys);
      float ic_meas = fabs(v_e_phys) / current_shunt_res * 1000.0f; // Dùng R Shunt động

      // --- OVERCURRENT PROTECTION (OCP) ---
      if (ic_meas > max_ic_limit) {
        ocp_triggered = 1;
        break; // Bẻ gãy đường quét hiện tại
      }

      if (ic_meas > current_max_ic)
        current_max_ic = ic_meas;

      // Tính hFE tại Vce đủ lớn
      if (v_step == 50 || ocp_triggered) {
        current_hfe = (ic_meas * 1000.0f) / ib_target_uA;
      }

      // Lưu Data
      if (bjt_index == 1) {
        vce_data_1[step][v_step] = vce_meas;
        ic_data_1[step][v_step] = ic_meas;
      } else {
        vce_data_2[step][v_step] = vce_meas;
        ic_data_2[step][v_step] = ic_meas;
      }

      sprintf(tx_buf, "DATA:%d,%d,%.3f,%.3f\n", bjt_index, step, vce_meas, ic_meas);
      USB_Send_String(tx_buf);

      float current_power = vce_meas * (ic_meas / 1000.0f);
      if (current_power > cfg_max_power) {
        float dynamic_delay = (0.6f * ((current_power / cfg_max_power) - 1.0f)) - 0.4f;
        if (dynamic_delay > 1.0f)
          HAL_Delay((uint32_t)dynamic_delay);
      }
    }
  }

  // 4. CHỐT KẾT QUẢ VÀ NHẢ RELAY
  if (bjt_index == 1) {
    max_ic_1 = current_max_ic;
    hfe_1 = current_hfe;
  } else {
    max_ic_2 = current_max_ic;
    hfe_2 = current_hfe;
  }

  sprintf(tx_buf, "DONE:%d,%d\n", bjt_index, (int)current_hfe);
  USB_Send_String(tx_buf);

  HAL_GPIO_WritePin(GPIOE, GPIO_PIN_7 | GPIO_PIN_9, GPIO_PIN_RESET); // Đưa Relay về NC an toàn
  HAL_Delay(200);
}

float
Calculate_Pretty_Scale(float max_val)
{
  // Thêm 10% khoảng đệm (headroom) để đồ thị không chạm nóc màn hình LCD
  float target = max_val * 1.1f;

  // Tự động phân phối thang đo chuẩn gần nhất lớn hơn giá trị thực tế đo được
  if (target <= 10.0f)
    return 10.0f;
  if (target <= 20.0f)
    return 20.0f;
  if (target <= 50.0f)
    return 50.0f;
  if (target <= 75.0f)
    return 75.0f;
  if (target <= 100.0f)
    return 100.0f;
  if (target <= 200.0f)
    return 200.0f;
  if (target <= 300.0f)
    return 300.0f;
  if (target <= 400.0f)
    return 400.0f;
  if (target <= 500.0f)
    return 500.0f;
  if (target <= 600.0f)
    return 600.0f;
  if (target <= 700.0f)
    return 700.0f;
  if (target <= 800.0f)
    return 800.0f;
  if (target <= 900.0f)
    return 900.0f;
  if (target <= 1000.0f)
    return 1000.0f;
  if (target <= 1500.0f)
    return 1500.0f;
  if (target <= 2000.0f)
    return 2000.0f;
  if (target <= 2500.0f)
    return 2500.0f;
  if (target <= 3000.0f)
    return 3000.0f;
  if (target <= 3500.0f)
    return 3500.0f;
  if (target <= 4000.0f)
    return 4000.0f;
  if (target <= 4500.0f)
    return 4500.0f;
  return 5000.0f;
}

void
Draw_Graph(uint8_t is_PNP, float max_ib_uA, uint8_t num_steps, uint8_t is_compare_mode)
{
  char buffer[32];
  float global_max_ic = max_ic_1;
  if (is_compare_mode && max_ic_2 > global_max_ic) {
    global_max_ic = max_ic_2;
  }

  float graph_y_max = Calculate_Pretty_Scale(global_max_ic);

  ILI9341_FillScreen(ILI9341_BLACK);
  uint16_t grid_color = ILI9341_COLOR565(60, 60, 60);

  for (int i = 0; i <= 8; i++) {
    int x_pos = ORIGIN_X + i * 40;
    DrawLine(x_pos, ORIGIN_Y, x_pos, 0, grid_color);
    if (i > 0 && i % 2 == 0) {
      sprintf(buffer, "%d", i);
      ILI9341_WriteString(x_pos - 8, ORIGIN_Y - 15, buffer, Font_7x10, ILI9341_CYAN, ILI9341_BLACK);
    }
  }

  for (int i = 0; i <= 10; i++) {
    int y_pos = ORIGIN_Y - i * 24;
    DrawLine(ORIGIN_X, y_pos, 319, y_pos, grid_color);
    if (i > 0) {
      int label_val = (int)(i * (graph_y_max / 10.0f));
      sprintf(buffer, "%d", label_val);
      ILI9341_WriteString(ORIGIN_X + 3, y_pos + 5, buffer, Font_7x10, ILI9341_YELLOW, ILI9341_BLACK);
    }
  }

  float x_scale = 320.0f / 8.0f;
  float y_scale = 240.0f / graph_y_max;
  float ib_step_uA = max_ib_uA / (float)num_steps;
  int loop_count = is_compare_mode ? 2 : 1;

  for (int bjt = 1; bjt <= loop_count; bjt++) {
    uint16_t line_color = (bjt == 1) ? ILI9341_WHITE : ILI9341_YELLOW;
    for (int step = 0; step < num_steps; step++) {
      int prev_x = ORIGIN_X;
      int prev_y = ORIGIN_Y;
      for (int v_step = 0; v_step < 100; v_step++) {
        float vce = (bjt == 1) ? vce_data_1[step][v_step] : vce_data_2[step][v_step];
        float ic = (bjt == 1) ? ic_data_1[step][v_step] : ic_data_2[step][v_step];

        int px = ORIGIN_X + (int)(vce * x_scale);
        int py = ORIGIN_Y - (int)(ic * y_scale);

        if (px > 319)
          px = 319;
        if (py < 0)
          py = 0;

        DrawLine(prev_x, prev_y, px, py, line_color);
        prev_x = px;
        prev_y = py;

        if (v_step == 99 && bjt == 1) {
          float current_ib = (step + 1) * ib_step_uA;

          /* Nếu đang chọn POWER BJT, tự động chia cho 1000 và hiển thị đơn vị mA */
          if (cfg_is_power) {
            sprintf(buffer, "%.1fmA", current_ib / 1000.0f);
          } else {
            sprintf(buffer, "%.0fuA", current_ib);
          }

          int label_x = px - 35;
          if (label_x < 0)
            label_x = 0;
          int label_y = py - 12;
          if (label_y < 0)
            label_y = 0;
          ILI9341_WriteString(label_x, label_y, buffer, Font_7x10, ILI9341_GREEN, ILI9341_BLACK);
        }
      }
    }
  }

  sprintf(buffer, "1. %s Gain=%d", is_PNP ? "PNP" : "NPN", (int)hfe_1);
  ILI9341_WriteString(40, 3, buffer, Font_7x10, ILI9341_WHITE, ILI9341_BLACK);

  if (is_compare_mode) {
    sprintf(buffer, "2. %s Gain=%d", is_PNP ? "PNP" : "NPN", (int)hfe_2);
    ILI9341_WriteString(180, 3, buffer, Font_7x10, ILI9341_YELLOW, ILI9341_BLACK);
  }
}

/* USER CODE END 0 */

int
main(void)
{
  HAL_Init();
  SystemClock_Config();

  MX_GPIO_Init();
  MX_ADC1_Init();
  MX_DAC_Init();
  MX_SPI2_Init();
  MX_TIM2_Init();
  MX_TIM4_Init();
  MX_TIM6_Init();
  MX_USB_DEVICE_Init();

  /* USER CODE BEGIN 2 */
  HAL_TIM_Base_Start(&htim6);

  HAL_GPIO_WritePin(GPIOE, GPIO_PIN_7 | GPIO_PIN_9, GPIO_PIN_RESET);

  HAL_DAC_SetValue(&hdac, DAC_CHANNEL_1, DAC_ALIGN_12B_R, 2048);
  HAL_DAC_SetValue(&hdac, DAC_CHANNEL_2, DAC_ALIGN_12B_R, 2048);

  HAL_DAC_Start(&hdac, DAC_CHANNEL_1);
  HAL_DAC_Start(&hdac, DAC_CHANNEL_2);

  ILI9341_Init();

  HAL_TIM_Encoder_Start(&htim4, TIM_CHANNEL_ALL);
  HAL_TIM_Encoder_Start(&htim2, TIM_CHANNEL_ALL);

  last_encoder_val = __HAL_TIM_GET_COUNTER(&htim4);
  last_encoder2_val = __HAL_TIM_GET_COUNTER(&htim2);

  Draw_Menu_UI();
  /* USER CODE END 2 */

  while (1) {
    /* USER CODE BEGIN WHILE */

    // ==========================================================
    // 1. XỬ LÝ ENCODER 1 (TIM4) - DI CHUYỂN MENU VÀ CHUYỂN TABS
    // ==========================================================
    uint16_t current_encoder_val = __HAL_TIM_GET_COUNTER(&htim4);
    int16_t delta = (int16_t)(last_encoder_val - current_encoder_val);

    if (abs(delta) >= 4) {
      if (current_state == STATE_MENU) {
        int old_menu_index = menu_index;
        if (delta > 0)
          menu_index++;
        else
          menu_index--;
        if (menu_index < 0)
          menu_index = 0;
        if (menu_index > 6)
          menu_index = 6;

        if (old_menu_index != menu_index) {
          Draw_Menu_Line(old_menu_index, 0);
          Draw_Menu_Line(menu_index, 1);
        }
      } else if (current_state == STATE_PROMPT_SAVE) {
        prompt_selection = !prompt_selection;
        Draw_Prompt_Save_Buttons(prompt_selection);
      } else if (current_state == STATE_BATCH_SUMMARY) {
        int old_page = summary_page;
        if (delta > 0 && summary_page < 2)
          summary_page++;
        if (delta < 0 && summary_page > 0)
          summary_page--;
        if (old_page != summary_page)
          Draw_Batch_Summary_Page();
      }
      last_encoder_val = current_encoder_val;
    }

    // ==========================================================
    // 2. XỬ LÝ ENCODER 2 (TIM2) - ĐIỀU CHỈNH SIZE LÔ VÀ CUỘN BẢNG
    // ==========================================================
    uint16_t current_encoder2_val = __HAL_TIM_GET_COUNTER(&htim2);
    int16_t delta2 = (int16_t)(last_encoder2_val - current_encoder2_val);

    if (abs(delta2) >= 3) {
      if (current_state == STATE_BATCH_CONFIG) {
        if (delta2 > 0) {
          if (cfg_batch_size < MAX_BATCH_SIZE)
            cfg_batch_size++;
        } else {
          if (cfg_batch_size > 10)
            cfg_batch_size--;
        }
        Update_Batch_Config_Value();
      } else if (current_state == STATE_BATCH_PROMPT_EXIT) {
        exit_prompt_sel = !exit_prompt_sel;
        Draw_Prompt_Exit_Buttons(exit_prompt_sel);
      } else if (current_state == STATE_BATCH_SUMMARY && summary_page == 2) {
        // --- TỐI ƯU CHỐNG GIẬT MÀN HÌNH KHI CUỘN BẢNG ĐO LÔ ---
        int old_scroll = table_scroll; // Lưu lại vị trí cuộn cũ để đối chiếu
        if (delta2 > 0) {
          if (table_scroll + 8 < cfg_batch_size) {
            table_scroll += 8;
          }
        } else if (delta2 < 0) {
          if (table_scroll >= 8) {
            table_scroll -= 8;
          }
        }
        // CHỈ quét và vẽ lại các dòng bảng khi vị trí cuộn thực tế có thay đổi
        if (old_scroll != table_scroll) {
          Draw_Batch_Table_Rows();
        }
      }
      last_encoder2_val = current_encoder2_val;
    }

    // ==========================================================
    // 3. XỬ LÝ NÚT NHẤN (Nút Encoder 2 - Chân PE2)
    // ==========================================================
    if (HAL_GPIO_ReadPin(GPIOE, GPIO_PIN_2) == GPIO_PIN_RESET) {
      HAL_Delay(50);
      if (HAL_GPIO_ReadPin(GPIOE, GPIO_PIN_2) == GPIO_PIN_RESET) {
        if (current_state == STATE_BATCH_RUNNING) {
          current_state = STATE_BATCH_PROMPT_EXIT;
          exit_prompt_sel = 0;
          Draw_Prompt_Exit_BG();
          Draw_Prompt_Exit_Buttons(exit_prompt_sel);
        }
        else if (current_state == STATE_BATCH_CONFIG) {
          current_batch_index = 0;
          current_state = STATE_BATCH_RUNNING;
          Draw_Batch_Running_BG();

          char start_txt[32];
          sprintf(start_txt, "BATCH_START:%d\n", cfg_batch_size);
          USB_Send_String(start_txt);
        }
        else if (current_state == STATE_BATCH_PROMPT_EXIT) {
          if (exit_prompt_sel == 1) {
            current_state = STATE_MENU;
            Draw_Menu_UI();
          } else {
            current_state = STATE_BATCH_RUNNING;
            Draw_Batch_Running_BG();
          }
        }
        while (HAL_GPIO_ReadPin(GPIOE, GPIO_PIN_2) == GPIO_PIN_RESET)
          ;
      }
    }

    // ==========================================================
    // 4. XỬ LÝ NÚT NHẤN (Nút Encoder 1 - Chân PC0)
    // ==========================================================
    if (HAL_GPIO_ReadPin(GPIOC, GPIO_PIN_0) == GPIO_PIN_RESET) {
      HAL_Delay(50);
      if (HAL_GPIO_ReadPin(GPIOC, GPIO_PIN_0) == GPIO_PIN_RESET) {
        switch (current_state) {
          case STATE_MENU:
            if (menu_index == 0) {
              // 1. CHỌN SIZE BJT: Đổi qua lại giữa BJT Công suất và Tín hiệu nhỏ
              cfg_is_power = !cfg_is_power;

              // Tự động điều chỉnh cấu hình tham số an toàn ngầm
              if (cfg_is_power) {
                cfg_max_ib_uA = 1000.0f; // Mặc định 1mA cho BJT công suất
                cfg_max_power = 0.5f;    // Mặc định giới hạn 0.5W
              } else {
                cfg_max_ib_uA = 100.0f;  // Mặc định 100uA cho BJT tín hiệu nhỏ
                cfg_max_power = 0.1f;    // Mặc định giới hạn 0.1W
              }

              // --- TỐI ƯU CHỐNG NHÁY MÀN HÌNH MÀN HÌNH CHÍNH ---
              // Chỉ ép refresh cục bộ các dòng menu có chứa dữ liệu thay đổi ngầm
              Draw_Menu_Line(2, 0); // Vẽ lại dòng Max Ib (Trạng thái bình thường)
              Draw_Menu_Line(4, 0); // Vẽ lại dòng P-Limit (Trạng thái bình thường)
            } else if (menu_index == 1) {
              // 2. CHỌN PHÂN LOẠI: NPN hoặc PNP
              cfg_is_pnp = !cfg_is_pnp;
            } else if (menu_index == 2) {
              // 3. CÀI ĐẶT DÒNG IB MAX LỚN NHẤT
              if (cfg_is_power) {
                if (cfg_max_ib_uA == 1000.0f)       cfg_max_ib_uA = 5000.0f;
                else if (cfg_max_ib_uA == 5000.0f)  cfg_max_ib_uA = 10000.0f;
                else if (cfg_max_ib_uA == 10000.0f) cfg_max_ib_uA = 15000.0f;
                else if (cfg_max_ib_uA == 15000.0f) cfg_max_ib_uA = 20000.0f;
                else if (cfg_max_ib_uA == 20000.0f) cfg_max_ib_uA = 25000.0f;
                else if (cfg_max_ib_uA == 25000.0f) cfg_max_ib_uA = 30000.0f;
                else if (cfg_max_ib_uA == 30000.0f) cfg_max_ib_uA = 35000.0f;
                else if (cfg_max_ib_uA == 35000.0f) cfg_max_ib_uA = 40000.0f;
                else if (cfg_max_ib_uA == 40000.0f) cfg_max_ib_uA = 45000.0f;
                else if (cfg_max_ib_uA == 45000.0f) cfg_max_ib_uA = 50000.0f;
                else                                cfg_max_ib_uA = 1000.0f;
              } else {
                if (cfg_max_ib_uA == 50.0f)        cfg_max_ib_uA = 75.0f;
                else if (cfg_max_ib_uA == 75.0f)   cfg_max_ib_uA = 100.0f;
                else if (cfg_max_ib_uA == 100.0f)  cfg_max_ib_uA = 150.0f;
                else if (cfg_max_ib_uA == 150.0f)  cfg_max_ib_uA = 200.0f;
                else if (cfg_max_ib_uA == 200.0f)  cfg_max_ib_uA = 250.0f;
                else if (cfg_max_ib_uA == 250.0f)  cfg_max_ib_uA = 300.0f;
                else if (cfg_max_ib_uA == 300.0f)  cfg_max_ib_uA = 350.0f;
                else if (cfg_max_ib_uA == 350.0f)  cfg_max_ib_uA = 400.0f;
                else if (cfg_max_ib_uA == 400.0f)  cfg_max_ib_uA = 450.0f;
                else if (cfg_max_ib_uA == 450.0f)  cfg_max_ib_uA = 500.0f;
                else                               cfg_max_ib_uA = 50.0f;
              }
            } else if (menu_index == 3) {
              // 4. CÀI ĐẶT SỐ ĐƯỜNG ĐẶC TUYẾN (STEPS)
              if (cfg_num_steps == 3)       cfg_num_steps = 5;
              else if (cfg_num_steps == 5)  cfg_num_steps = 7;
              else if (cfg_num_steps == 7)  cfg_num_steps = 10;
              else                          cfg_num_steps = 3;
            } else if (menu_index == 4) {
              // 5. CÀI ĐẶT GIỚI HẠN CÔNG SUẤT BẢO VỆ NHIỆT (P-LIMIT)
              if (cfg_is_power) {
                if (cfg_max_power == 0.5f)      cfg_max_power = 1.0f;
                else if (cfg_max_power == 1.0f) cfg_max_power = 2.0f;
                else                            cfg_max_power = 0.5f;
              } else {
                if (cfg_max_power == 0.1f)       cfg_max_power = 0.25f;
                else if (cfg_max_power == 0.25f) cfg_max_power = 0.5f;
                else                             cfg_max_power = 0.1f;
              }
            } else if (menu_index == 5) {
              // 6. THỰC THI QUÉT ĐƠN (SINGLE SCAN)
              current_state = STATE_SCANNING;
              ILI9341_FillScreen(ILI9341_BLACK);
              ILI9341_WriteString(110, 110, "Scanning...", Font_11x18, ILI9341_YELLOW, ILI9341_BLACK);

              Measure_BJT(cfg_is_pnp, cfg_max_ib_uA, cfg_num_steps, 1);

              if (current_state == STATE_SCANNING) {
                Draw_Graph(cfg_is_pnp, cfg_max_ib_uA, cfg_num_steps, 0);
                current_state = STATE_SHOW_GRAPH;
              } else {
                current_state = STATE_MENU;
                Draw_Menu_UI();
              }
            } else if (menu_index == 6) {
              // 7. CHUYỂN SANG TRẠNG THÁI CẤU HÌNH LÔ ĐO 3-SIGMA
              current_state = STATE_BATCH_CONFIG;
              Draw_Batch_Config_BG();
            }

            // Vẽ đè lại trạng thái sáng đỏ (Selected) cho dòng menu hiện tại
            if (current_state == STATE_MENU)
              Draw_Menu_Line(menu_index, 1);
            break;

          case STATE_BATCH_RUNNING:
            batch_hfe[current_batch_index] = Measure_BJT_Single_Point(cfg_is_pnp, cfg_max_ib_uA);

            char data_txt[32];
            sprintf(data_txt, "BATCH_DATA:%d,%.1f\n", current_batch_index + 1, batch_hfe[current_batch_index]);
            USB_Send_String(data_txt);

            current_batch_index++;

            if (current_batch_index < cfg_batch_size) {
              Update_Batch_Running_Data();
            } else {
              current_state = STATE_BATCH_SUMMARY;
              Run_Batch_Statistical_Analysis();
            }
            break;

          case STATE_BATCH_SUMMARY:
            current_state = STATE_MENU;
            Draw_Menu_UI();
            break;

          case STATE_SHOW_GRAPH:
            current_state = STATE_PROMPT_SAVE;
            prompt_selection = 0;
            Draw_Prompt_Save_BG();
            Draw_Prompt_Save_Buttons(prompt_selection);
            break;

          case STATE_PROMPT_SAVE:
            if (prompt_selection == 0) {
              current_state = STATE_MENU;
              Draw_Menu_UI();
            } else {
              current_state = STATE_WAIT_BJT2;
              Draw_Prompt_InsertBJT2();
            }
            break;

          case STATE_WAIT_BJT2:
            current_state = STATE_SCANNING;
            ILI9341_FillScreen(ILI9341_BLACK);
            ILI9341_WriteString(110, 110, "Scanning...", Font_11x18, ILI9341_YELLOW, ILI9341_BLACK);

            Measure_BJT(cfg_is_pnp, cfg_max_ib_uA, cfg_num_steps, 2);

            if (current_state == STATE_SCANNING) {
              Draw_Graph(cfg_is_pnp, cfg_max_ib_uA, cfg_num_steps, 1);
              current_state = STATE_SHOW_COMPARE;
            } else {
              current_state = STATE_MENU;
              Draw_Menu_UI();
            }
            break;

          case STATE_SHOW_COMPARE:
            current_state = STATE_MENU;
            Draw_Menu_UI();
            break;

          default:
            break;
        }
        while (HAL_GPIO_ReadPin(GPIOC, GPIO_PIN_0) == GPIO_PIN_RESET)
          ;
      }
    }
    /* USER CODE END WHILE */
  }
}

void
SystemClock_Config(void)
{
  RCC_OscInitTypeDef RCC_OscInitStruct = { 0 };
  RCC_ClkInitTypeDef RCC_ClkInitStruct = { 0 };

  __HAL_RCC_PWR_CLK_ENABLE();
  __HAL_PWR_VOLTAGESCALING_CONFIG(PWR_REGULATOR_VOLTAGE_SCALE1);

  RCC_OscInitStruct.OscillatorType = RCC_OSCILLATORTYPE_HSI;
  RCC_OscInitStruct.HSIState = RCC_HSI_ON;
  RCC_OscInitStruct.HSICalibrationValue = RCC_HSICALIBRATION_DEFAULT;
  RCC_OscInitStruct.PLL.PLLState = RCC_PLL_ON;
  RCC_OscInitStruct.PLL.PLLSource = RCC_PLLSOURCE_HSI;
  RCC_OscInitStruct.PLL.PLLM = 16;
  RCC_OscInitStruct.PLL.PLLN = 192;
  RCC_OscInitStruct.PLL.PLLP = RCC_PLLP_DIV2;
  RCC_OscInitStruct.PLL.PLLQ = 4;
  if (HAL_RCC_OscConfig(&RCC_OscInitStruct) != HAL_OK) {
    Error_Handler();
  }

  RCC_ClkInitStruct.ClockType = RCC_CLOCKTYPE_HCLK | RCC_CLOCKTYPE_SYSCLK | RCC_CLOCKTYPE_PCLK1 | RCC_CLOCKTYPE_PCLK2;
  RCC_ClkInitStruct.SYSCLKSource = RCC_SYSCLKSOURCE_PLLCLK;
  RCC_ClkInitStruct.AHBCLKDivider = RCC_SYSCLK_DIV1;
  RCC_ClkInitStruct.APB1CLKDivider = RCC_HCLK_DIV4;
  RCC_ClkInitStruct.APB2CLKDivider = RCC_HCLK_DIV2;

  if (HAL_RCC_ClockConfig(&RCC_ClkInitStruct, FLASH_LATENCY_3) != HAL_OK) {
    Error_Handler();
  }
}

void
Error_Handler(void)
{
  __disable_irq();
  while (1) {
  }
}
